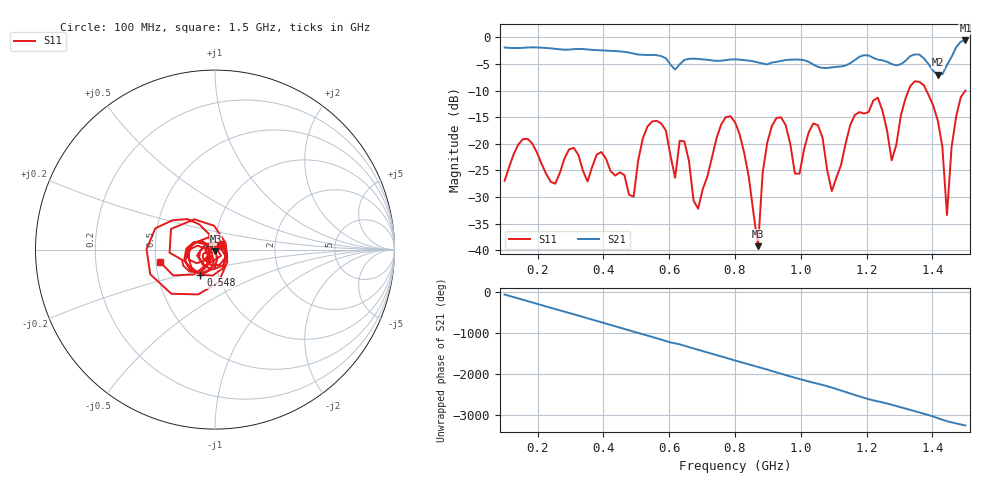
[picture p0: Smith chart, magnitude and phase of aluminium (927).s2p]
! NanoVNA-App
! Date: 2025-09-25 15:02:30
! Start: 100MHz Stop: 1,5GHz Points: 101
! S-Parameter data: F S11 S21 S12 S22
# Hz S RI R 50
!  Frequency  S11_Real  S11_Imag  S21_Real  S21_Imag  S12_Real  S12_Imag  S22_Real  S22_Imag
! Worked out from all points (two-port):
!   101 points, 100 MHz to 1.5 GHz, reference 50 ohm
!   highest |S21| = -0.60 dB at 1.5 GHz (marker M1); lowest = -7.0 dB at 1.416 GHz (marker M2)
!   |S21| within 3 dB of the highest: start of sweep to 578 MHz; 1.331 GHz to 1.367 GHz (35.52 MHz wide, 2.63 % of centre) (the widest 2 of 4)
!   lowest |S11| = -39.2 dB at 870 MHz (marker M3), VSWR 1.02, Z = 50.3 - j1.06 ohm
!   |S11| at or under -10 dB: start of sweep to 1.327 GHz; 1.382 GHz to end of sweep
!   S12 and S22 are empty: the file has one direction only
!   S11 on the Smith chart (normalised r, x): 100 MHz: 1.07, +0.06; 548 MHz: 0.82, -0.24; 1.5 GHz: 0.52, -0.08
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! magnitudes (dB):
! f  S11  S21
! 100 MHz  -27.0  -1.9
! 156 MHz  -19.1  -2.0
! 338 MHz  -25.1  -2.2
! 492 MHz  -29.9  -3.1
! 548 MHz  -15.8  -3.3
! 576 MHz  -16.2  -3.5
! 618 MHz  -26.4  -6.1
! 646 MHz  -19.5  -4.3
! 688 MHz  -32.2  -4.1
! 800 MHz  -15.9  -4.1
! 870 MHz  -39.2  -4.7
! 912 MHz  -16.7  -4.7
! 996 MHz  -25.6  -4.2
! 1.038 GHz  -16.2  -5.1
! 1.094 GHz  -28.9  -5.7
! 1.234 GHz  -11.3  -4.2
! 1.276 GHz  -23.1  -5.0
! 1.346 GHz  -8.3  -3.2
! 1.416 GHz  -15.6  -7.0
! 1.444 GHz  -33.4  -5.2
! 1.458 GHz  -20.7  -3.7
! 1.5 GHz  -10.0  -0.6
